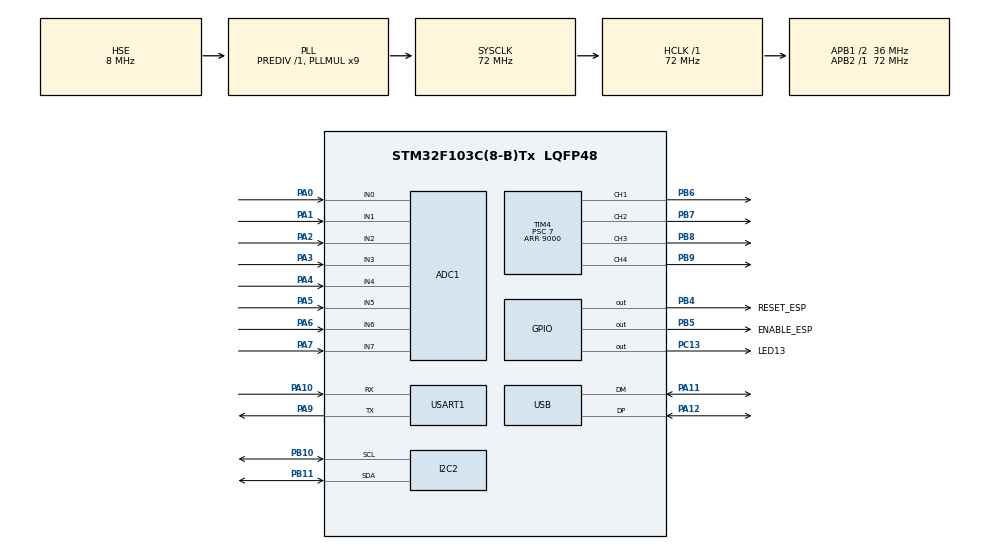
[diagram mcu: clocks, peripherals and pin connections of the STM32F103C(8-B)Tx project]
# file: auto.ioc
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ADC1.Channel-10\#ChannelRegularConversion=ADC_CHANNEL_0
ADC1.Channel-11\#ChannelRegularConversion=ADC_CHANNEL_1
ADC1.Channel-12\#ChannelRegularConversion=ADC_CHANNEL_2
ADC1.Channel-13\#ChannelRegularConversion=ADC_CHANNEL_3
ADC1.Channel-14\#ChannelRegularConversion=ADC_CHANNEL_4
ADC1.Channel-15\#ChannelRegularConversion=ADC_CHANNEL_5
ADC1.Channel-16\#ChannelRegularConversion=ADC_CHANNEL_6
ADC1.Channel-17\#ChannelRegularConversion=ADC_CHANNEL_7
ADC1.NbrOfConversion=8
ADC1.NbrOfConversionFlag=1
ADC1.Rank-10\#ChannelRegularConversion=1
ADC1.Rank-11\#ChannelRegularConversion=2
ADC1.Rank-12\#ChannelRegularConversion=3
ADC1.Rank-13\#ChannelRegularConversion=4
ADC1.Rank-14\#ChannelRegularConversion=5
ADC1.Rank-15\#ChannelRegularConversion=6
ADC1.Rank-16\#ChannelRegularConversion=7
ADC1.Rank-17\#ChannelRegularConversion=8
ADC1.SamplingTime-10\#ChannelRegularConversion=ADC_SAMPLETIME_13CYCLES_5
ADC1.SamplingTime-11\#ChannelRegularConversion=ADC_SAMPLETIME_13CYCLES_5
ADC1.SamplingTime-12\#ChannelRegularConversion=ADC_SAMPLETIME_13CYCLES_5
ADC1.SamplingTime-13\#ChannelRegularConversion=ADC_SAMPLETIME_13CYCLES_5
ADC1.SamplingTime-14\#ChannelRegularConversion=ADC_SAMPLETIME_13CYCLES_5
ADC1.SamplingTime-15\#ChannelRegularConversion=ADC_SAMPLETIME_13CYCLES_5
ADC1.SamplingTime-16\#ChannelRegularConversion=ADC_SAMPLETIME_13CYCLES_5
ADC1.SamplingTime-17\#ChannelRegularConversion=ADC_SAMPLETIME_13CYCLES_5
ADC1.master=1
Dma.ADC1.0.Direction=DMA_PERIPH_TO_MEMORY
Dma.ADC1.0.Instance=DMA1_Channel1
Dma.ADC1.0.MemDataAlignment=DMA_MDATAALIGN_HALFWORD
Dma.ADC1.0.MemInc=DMA_MINC_ENABLE
Dma.ADC1.0.Mode=DMA_NORMAL
Dma.ADC1.0.PeriphDataAlignment=DMA_PDATAALIGN_HALFWORD
Dma.ADC1.0.PeriphInc=DMA_PINC_DISABLE
Dma.ADC1.0.Priority=DMA_PRIORITY_LOW
Dma.Request0=ADC1
Mcu.Family=STM32F1
Mcu.Name=STM32F103C(8-B)Tx
Mcu.Package=LQFP48
NVIC.DMA1_Channel1_IRQn=true\:0\:0\:false\:false\:true\:false\:true
NVIC.PriorityGroup=NVIC_PRIORITYGROUP_4
NVIC.TIM3_IRQn=true\:0\:0\:false\:false\:true\:true\:true
NVIC.TIM4_IRQn=true\:0\:0\:false\:false\:true\:true\:true
NVIC.USART1_IRQn=true\:0\:0\:false\:false\:true\:true\:true
NVIC.USB_LP_CAN1_RX0_IRQn=true\:0\:0\:false\:false\:true\:false\:true
PA0-WKUP.Signal=ADCx_IN0
PA1.Signal=ADCx_IN1
PA10.Mode=Asynchronous
PA10.Signal=USART1_RX
PA11.Mode=Device
PA11.Signal=USB_DM
PA12.Mode=Device
PA12.Signal=USB_DP
PA13.Mode=Serial_Wire
PA13.Signal=SYS_JTMS-SWDIO
PA14.Mode=Serial_Wire
PA14.Signal=SYS_JTCK-SWCLK
PA2.Signal=ADCx_IN2
PA3.Signal=ADCx_IN3
PA4.Signal=ADCx_IN4
PA5.Signal=ADCx_IN5
PA6.Signal=ADCx_IN6
PA7.Signal=ADCx_IN7
PA9.Mode=Asynchronous
PA9.Signal=USART1_TX
PB10.Mode=I2C
PB10.Signal=I2C2_SCL
PB11.Mode=I2C
PB11.Signal=I2C2_SDA
PB4.GPIO_Label=RESET_ESP
PB4.Signal=GPIO_Output
PB5.GPIO_Label=ENABLE_ESP
PB5.Signal=GPIO_Output
PB6.Signal=S_TIM4_CH1
PB7.Signal=S_TIM4_CH2
PB8.Signal=S_TIM4_CH3
PB9.Signal=S_TIM4_CH4
PC13-TAMPER-RTC.GPIO_Label=LED13
PC13-TAMPER-RTC.Signal=GPIO_Output
PD0-OSC_IN.Mode=HSE-External-Oscillator
PD0-OSC_IN.Signal=RCC_OSC_IN
PD1-OSC_OUT.Mode=HSE-External-Oscillator
PD1-OSC_OUT.Signal=RCC_OSC_OUT
ProjectManager.HeapSize=0x200
ProjectManager.StackSize=0x400
ProjectManager.TargetToolchain=STM32CubeIDE
RCC.ADCPresc=RCC_ADCPCLK2_DIV6
RCC.AHBFreq_Value=72000000
RCC.APB1CLKDivider=RCC_HCLK_DIV2
RCC.APB1Freq_Value=36000000
RCC.APB1TimFreq_Value=72000000
RCC.APB2Freq_Value=72000000
RCC.APB2TimFreq_Value=72000000
RCC.HCLKFreq_Value=72000000
RCC.PLLMUL=RCC_PLL_MUL9
RCC.SYSCLKFreq_VALUE=72000000
RCC.SYSCLKSource=RCC_SYSCLKSOURCE_PLLCLK
RCC.USBFreq_Value=48000000
RCC.USBPrescaler=RCC_USBCLKSOURCE_PLL_DIV1_5
SH.ADCx_IN0.0=ADC2_IN0
SH.ADCx_IN0.1=ADC1_IN0,IN0
SH.ADCx_IN1.0=ADC2_IN1
SH.ADCx_IN1.1=ADC1_IN1,IN1
SH.ADCx_IN2.0=ADC2_IN2
SH.ADCx_IN2.1=ADC1_IN2,IN2
SH.ADCx_IN3.0=ADC2_IN3
SH.ADCx_IN3.1=ADC1_IN3,IN3
SH.ADCx_IN4.0=ADC2_IN4
SH.ADCx_IN4.1=ADC1_IN4,IN4
SH.ADCx_IN5.0=ADC2_IN5
SH.ADCx_IN5.1=ADC1_IN5,IN5
SH.ADCx_IN6.0=ADC2_IN6
SH.ADCx_IN6.1=ADC1_IN6,IN6
SH.ADCx_IN7.0=ADC2_IN7
SH.ADCx_IN7.1=ADC1_IN7,IN7
SH.S_TIM4_CH1.0=TIM4_CH1,PWM Generation1 CH1
SH.S_TIM4_CH2.0=TIM4_CH2,PWM Generation2 CH2
SH.S_TIM4_CH3.0=TIM4_CH3,PWM Generation3 CH3
SH.S_TIM4_CH4.0=TIM4_CH4,PWM Generation4 CH4
TIM3.Period=18000
TIM3.Prescaler=7
TIM4.Channel-PWM\ Generation1\ CH1=TIM_CHANNEL_1
TIM4.Channel-PWM\ Generation2\ CH2=TIM_CHANNEL_2
TIM4.Channel-PWM\ Generation3\ CH3=TIM_CHANNEL_3
TIM4.Channel-PWM\ Generation4\ CH4=TIM_CHANNEL_4
TIM4.Period=9000
TIM4.Prescaler=7
USART1.VirtualMode=VM_ASYNC
USB_DEVICE.APP_RX_DATA_SIZE=512
USB_DEVICE.APP_TX_DATA_SIZE=512
USB_DEVICE.CLASS_NAME_FS=CDC
USB_DEVICE.VirtualMode=Cdc
USB_DEVICE.VirtualModeFS=Cdc_FS
VP_TIM3_VS_ClockSourceINT.Mode=Internal
VP_TIM4_VS_ClockSourceINT.Mode=Internal
VP_USB_DEVICE_VS_USB_DEVICE_CDC_FS.Mode=CDC_FS
board=custom

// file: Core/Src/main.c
/* USER CODE BEGIN Header */
/**
  ******************************************************************************
  * @file           : main.c
  * @brief          : Main program body
  ******************************************************************************
  * @attention
  *
  * <h2><center>&copy; Copyright (c) 2021 STMicroelectronics.
  * All rights reserved.</center></h2>
  *
  * This software component is licensed by ST under BSD 3-Clause license,
  * the "License"; You may not use this file except in compliance with the
  * License. You may obtain a copy of the License at:
  *                        opensource.org/licenses/BSD-3-Clause
  *
  ******************************************************************************
  */
/* USER CODE END Header */
#include "main.h"
#include "usb_device.h"

/* USER CODE BEGIN Includes */

#include "utils.h"
#include "usbd_cdc_if.h"
#include "string.h"
#include "math.h"

/* USER CODE END Includes */

/* USER CODE BEGIN PD */

/************************* Valores MAX-MIN de motores *****************************/
#define PWMAMAX			6500
#define PWMAMIN			3000

//#define PWMBMAX			4800
#define PWMBMIN			6200
/**********************************************************************************/

/************************* Longitud de respuestas ESP *****************************/
//#define LONG_CWJAP_	35 //MICRO
//#define LONG_ANS_CWJAP_ 87 //MICRO
#define LONG_CWJAP_	45 //CASA
#define LONG_ANS_CIPSTART 59 //CASA
#define LONG_ANS_CWJAP_ 97 //CASA
//#define LONG_CWJAP_	47 //FACU
//#define LONG_ANS_CWJAP_ 93 //FACU
//#define LONG_ANS_CIPSTART 62 //FACU
/**********************************************************************************/

/************************************ Bits ****************************************/
#define espConnected 			flag1.bit.b0
#define PCConnected				flag1.bit.b1
#define SendAlive				flag1.bit.b2
#define DecodeHeaderESP			flag1.bit.b3
#define RespMotor				flag1.bit.b4
#define ESPReadyToRecyb			flag1.bit.b5
#define DecodeIPD				flag1.bit.b6
#define ECOCIPSEND0xF0			flag1.bit.b7

#define ResetESP				flag2.bit.b0
#define SentDataESP				flag2.bit.b1
#define SendADC					flag2.bit.b2
#define Start					flag2.bit.b3

/**********************************************************************************/
/* USER CODE END PD */

ADC_HandleTypeDef hadc1;
DMA_HandleTypeDef hdma_adc1;

I2C_HandleTypeDef hi2c2;

TIM_HandleTypeDef htim3;
TIM_HandleTypeDef htim4;

UART_HandleTypeDef huart1;

/* USER CODE BEGIN PV */

/******************************** Comandos AT ***********************************/
const char AT[]="AT\r\n";
//const char CWJAP_[]="AT+CWJAP=\"MICROS\",\"micros1234567\"\r\n";
const char CWJAP_[]="AT+CWJAP=\"InternetPlus_861f50\",\"wlan79e0af\"\r\n";//45
//const char CWJAP_[]="AT+CWJAP=\"FCAL\",\"fcalconcordia.06-2019\"\r\n";
const char CIFSR[] = "AT+CIFSR\r\n";
const char CIPMUX[] = "AT+CIPMUX=0\r\n";
const char CIPSTART[]="AT+CIPSTART=\"UDP\",\"192.168.1.6\",30011,3011\r\n";//44
//const char CIPSTART[]="AT+CIPSTART=\"UDP\",\"172.23.247.155\",30011,3011\r\n";//47
const char CIPSEND[] = "AT+CIPSEND=";
const char CIPCLOSE[] = "AT+CIPCLOSE\r\n";
const char CWQAP[] = "AT+CWQAP\r\n";
const char CWMODE[] = "AT+CWMODE=3\r\n";
/********************************************************************************/

/*************************** Respuestas comandos AT *****************************/
const char ANS_CWMODE[] = "AT+CWMODE=3\r\n\r\nOK\r\n"; //19
const char ANS_CWQAP[] = "AT+CWQAP\r\n\r\nOK\r\n"; //16
//const char ANS_CWJAP_[]="AT+CWJAP=\"MICROS\",\"micros1234567\"\r\nWIFI CONNECTED\r\nWIFI GOT IP\r\n\r\nOK\r\n";//70
//Longitud de ANS_CWJAP_[] = 68+LongSSID+Contra//
const char ANS_CWJAP_[]="AT+CWJAP=\"InternetPlus_861f50\",\"wlan79e0af\"\r\nWIFI DISCONNECT\r\nWIFI CONNECTED\r\nWIFI GOT IP\r\n\r\nOK\r\n";//97
//const char ANS_CWJAP_[]="AT+CWJAP=\"FCAL\",\"fcalconcordia.06-2019\"\r\nWIFI DISCONNECT\r\nWIFI CONNECTED\r\nWIFI GOT IP\r\n\r\nOK\r\n";//93
const char ANS_CIPMUX[] = "AT+CIPMUX=0\r\n\r\nOK\r\n"; //19
//const char ANS_CIFSR[] = "AT+CIFSR\r\n";
//const char ANS_CIFSR_STAIP[] = "+CIFSR:STAIP,\"";
//const char ANS_CIPSTART[]="AT+CIPSTART=\"UDP\",\"172.23.247.155\",30011,3011\r\nCONNECT\r\n\r\nOK\r\n";//62
const char ANS_CIPSTART[]="AT+CIPSTART=\"UDP\",\"192.168.1.6\",30011,3011\r\nCONNECT\r\n\r\nOK\r\n";//59
const char ANS_AT[] = "AT\r\n\r\nOK\r\n";
//const char AUTOMATIC_WIFI_CONNECTED[] = {"rIFI CONNECTED\r\nWIFI GOT IP\r\n"};
const char WIFI_DISCONNECT[] = "WIFI DISCONNECT\r\n";
//const char CIFSR_STAIP[] = "+CIFSR:STAIP,\"";
//const char OK[]="\r\nOK\r\n";
//const char CIPSEND1[]={"AT+CIPSEND="};
//const char CIPSEND2[]={"\r\n\r\nOK\r\n>"};
//const char CIPSEND3[]={"\r\nRecv "};
//const char CIPSEND4[]={" bytes\r\n\r\nSEND OK\r\n"};
const char IPD[]={"\r\n+IPD,"};
const char Error[] = "\r\nERROR\r\n";
/*********************************************************************************/

/********************* Cálculo error algoritmo cuadratico ************************/
const int COORD_SENSORES[]={-45,-35,-25,-15,-5,5,15,25,35,45};
static uint8_t FirtScan;
uint16_t bufADC[32][8];
volatile uint8_t iAdc;
uint8_t posMINCenter, posMINDerecha, posMINIzquierda;
int16_t sensorValue,x2_x1,x2_x3,x2_x1cuad,x2_x3cuad;
int32_t fx2_fx3,fx2_fx1,denominador;
//int32_t error;
/*********************************************************************************/
/************************************* PID y PWM***************************************/
int16_t IntegralMA, DerivativoMA, ProporcionalMB, IntegralMB, DerivativoMB, lastError;//, M1Power, M2Power;
uint8_t KpMA, KiMA, KdMA, KpMB, KiMB, KdMB;
//volatile uint8_t TimeOutPID;
//uint16_t PWMA, PWMB;
/*********************************************************************************/

/***************************** Contadores timmer *********************************/
volatile uint16_t DecodeTimeOut, On5ms, On100ms, On200ms, On3000ms, On500ms, Count100ms, Countms, Count5ms, Count500ms;
/*********************************************************************************/

/********************** Comunicación - Buffer e indices  *************************/
volatile _Rx RXUSB, RXUSART1;
_Tx TXUSB, TXUSART1;
uint8_t rxUSBBuff[256], rxUSART1Buff[256] = {};
uint8_t txUSBBuff[256], txUSART1Buff[256];
uint8_t DecodeCIPSEND, IndiceIPD, IndiceDisconnect, IndiceError;
uint8_t Estado, Indice, Data;
/*********************************************************************************/
_work w, M1Power, M2Power, error, PWMA, PWMB, PWM_A, PWM_B, PWMBaseA, PWMBaseB, ProporcionalMA;//, Kp, Ki, Kd;

volatile _sFlag flag1, flag2;

/* USER CODE END PV */

void SystemClock_Config(void);
static void MX_GPIO_Init(void);
static void MX_TIM4_Init(void);
static void MX_I2C2_Init(void);
static void MX_USART1_UART_Init(void);
static void MX_DMA_Init(void);
static void MX_ADC1_Init(void);
static void MX_TIM3_Init(void);
/* USER CODE BEGIN PFP */

/**********************************************************************************/
/*************************** Prototipos de Funciones ******************************/
/**********************************************************************************/

/*
 * Captura datos entrantes por USB
 * Incrementa indice de buffer de recepción
 *
 */
void MyCallBackOnUSBData(uint8_t *buf, uint32_t len);
/*
 * Decodifica protocolo de comunicacion
 * Calcula checksum
 * Detecta si hay comando
 *
 */
void DecodeHeader(_Rx *RX);
/*
 * Decodifica comando
 * Envida datos segun comando
 *
 */
void DecodeCmd(_Rx *RX, _Tx *TX);
/*
 * Carga buffer Tx en el buffer de USB o USART
 *
 */
void PutBuffOnTx(_Tx *TX, uint8_t *buf, uint8_t length);
/*
 * Carga byte Tx en el buffer de USB o USART
 *
 */
void PutByteOnTx(_Tx *TX, uint8_t value);
/*
 * Carga de protocolo en la cabecera en buffer de USB o ESP
 *
 */
void PutHeaderOnTx(_Tx *TX, uint8_t cmd, uint8_t CantDatos);
/*
 * Carga de checksum en buffer de USB o ESP
 *
 */
void PutcksOnTx(_Tx *TX);
/*
 * Carga de string en buffer de USB o ESP
 *
 */
void PutStrOnTx(_Tx *TX, const char *str);
/*
 * Captura de byte de buffer Rx de USB o ESP
 *
 */
uint8_t GetByteFromRx(_Rx *RX, int8_t pre, int8_t pos);
/*
 * Inicializacion de ESP8266
 * Se cargan comandos AT en el buffer Tx de ESP8266
 *
 */
void InitEsp(_Rx *RXUSART1);
/*
 * Decodifica comandos de ESP8266
 *
 */
void DecodeESP(_Rx *RXUSART1);

/*
 * Calculo de error cuadratico
 *
 */
void ErrorCuadratico();
/*
 * Cálculo de PID
 * Control de velocidad de motores
 *
 */
void PID();

void ConnectPC();

void SendUDPData();

void ADC();

void Reset();

void PutCIPSENDOnTx(const char * CantDatos);
/**********************************************************************************/
/**********************************************************************************/
/**********************************************************************************/

/* USER CODE END PFP */

/* USER CODE BEGIN 0 */

/**********************************************************************************/
/********************************** Funciones *************************************/
/**********************************************************************************/

void PID(){
//	uint16_t Valor;
//	uint8_t i;
//
//	for( i=0; i<8; i++){
//		Valor += bufADC[iAdc][i];
//	}
//
//	if(Valor < 1000){
//		Valor = 0;
//		__HAL_TIM_SET_COMPARE(&htim4,TIM_CHANNEL_1,0);
//		__HAL_TIM_SET_COMPARE(&htim4,TIM_CHANNEL_2,0);
//		__HAL_TIM_SET_COMPARE(&htim4,TIM_CHANNEL_3,0);
//		__HAL_TIM_SET_COMPARE(&htim4,TIM_CHANNEL_4,0);
//		return;
//	}

/**************************** Cálculo de variables PID ****************************/
	ProporcionalMA.i16[0] = KpMA*error.i16[0];
	ProporcionalMB = KpMB*error.i16[0];
//	Integral += 2*error.i16; //Integral += Ki*error;
	DerivativoMA = KdMA*(error.i16[0]-lastError)*100; //Kd*(error-lastError)
	DerivativoMB = KdMB*(error.i16[0]-lastError)*100;

	PWM_A.i16[0]= ProporcionalMA.i16[0] + IntegralMA + DerivativoMA;
	PWM_B.i16[0]= ProporcionalMB + IntegralMB + DerivativoMB;

	PWMA.i16[0] = PWMBaseA.i16[0] + PWM_A.i16[0];
	PWMB.i16[0] = PWMBaseB.i16[0] - PWM_B.i16[0];
/**********************************************************************************/

/************************ Seteo de variables fuera de rango ************************/
	if(PWMA.i16[0] > PWMAMAX)
		PWMA.i16[0] = PWMAMAX;

//	if(PWMB.i16[0] > PWMBMAX+1000)
//		PWMB.i16[0] = PWMBMAX+1000;

	if(PWMA.i16[0] < 0)
		PWMA.i16[0] = 0;

	if(PWMB.i16[0] < 0)
		PWMB.i16[0] = 0;
/***********************************************************************************/

/*************************** Actuacion de motores con PID **************************/
	__HAL_TIM_SET_COMPARE(&htim4,TIM_CHANNEL_1,PWMA.i16[0]);
	__HAL_TIM_SET_COMPARE(&htim4,TIM_CHANNEL_2,0);
	__HAL_TIM_SET_COMPARE(&htim4,TIM_CHANNEL_3,PWMB.i16[0]);
	__HAL_TIM_SET_COMPARE(&htim4,TIM_CHANNEL_4,0);
/***********************************************************************************/

	lastError=error.i16[0];
}

void ErrorCuadratico(){
/******************************* Variables locales *********************************/
	uint16_t aux[10];

	sensorValue = bufADC[iAdc][0];

	posMINCenter=0;
/***********************************************************************************/

/*************************** Encuentro la menor lectura ****************************/
	for(uint8_t c=0; c<8; c++){
		if(sensorValue < bufADC[iAdc][c]){
			sensorValue = bufADC[iAdc][c];
			posMINCenter = c;
		}
		aux[c+1]=bufADC[iAdc][c];
	}

	posMINCenter+=1;
	aux[0]=aux[2];
	aux[9]=aux[7];
/***********************************************************************************/

/***************** Calculo de error segun peso asignado a sensores *****************/
	posMINDerecha=posMINCenter+1;
	posMINIzquierda=posMINCenter-1;
	fx2_fx3=aux[posMINCenter]-aux[posMINDerecha];
	fx2_fx1=aux[posMINCenter]-aux[posMINIzquierda];
	x2_x1=COORD_SENSORES[posMINCenter]-COORD_SENSORES[posMINIzquierda];
	x2_x1cuad=(x2_x1*x2_x1);
	x2_x3=COORD_SENSORES[posMINCenter]-COORD_SENSORES[posMINDerecha];
	x2_x3cuad=(x2_x3*x2_x3);
	denominador=-(2*(x2_x1*fx2_fx3-x2_x3*fx2_fx1));
	if(denominador!= 0){
		error.i16[0]=(int16_t)COORD_SENSORES[posMINCenter]-( x2_x1cuad*fx2_fx3 - x2_x3cuad*fx2_fx1 ) / denominador;
	}
/***********************************************************************************/
}

void Reset(){
	espConnected = 0;
	ESPReadyToRecyb = 1;
	ResetESP = 1;
	HAL_UART_AbortReceive_IT(&huart1);
	HAL_GPIO_WritePin(GPIOB, RESET_ESP_Pin, GPIO_PIN_RESET);//Reset ESP8266
	DecodeTimeOut = 20;
}

void InitEsp(_Rx *RXUSART1){
	switch(Estado){
		case 0:
			PutStrOnTx((_Tx *)&TXUSART1,AT); //Envio comando AT para ver si responde el ESP
			PutStrOnTx((_Tx *)&TXUSB,AT);    // Depuracion por USB
		break;

		case 1:
			PutStrOnTx((_Tx *)&TXUSART1,CWMODE); //Envio comando CWMODE
			PutStrOnTx((_Tx *)&TXUSB,CWMODE);    // Depuracion por USB

		break;

		case 2:
			PutStrOnTx((_Tx *)&TXUSART1,CWJAP_); //Envio comando CWJAP con los datos de la red
			PutStrOnTx((_Tx *)&TXUSB,CWJAP_);    // Depuracion por USB

		break;

		case 3:
			PutStrOnTx((_Tx *)&TXUSART1,CIPMUX);
			PutStrOnTx((_Tx *)&TXUSB,CIPMUX);    // Depuracion por USB

		break;

		case 4:
			PutStrOnTx((_Tx *)&TXUSART1,CIPSTART);
			PutStrOnTx((_Tx *)&TXUSB,CIPSTART);    // Depuracion por USB

		break;
	}
	DecodeTimeOut = 4;
	ESPReadyToRecyb = 1;
}

void HAL_TIM_PeriodElapsedCallback(TIM_HandleTypeDef *htim){
/***************** Contadores para control del flujo de tiempo ********************/
/*
 * Instancia cada 1ms
 *
 */
	if(htim->Instance == TIM4){
		Count100ms--;
		Countms--;
		Count5ms--;
		if(!Count100ms){
			Count100ms = 100;
			On100ms = 1;
		}

		if(RXUSB.header) {
			RXUSB.timeout--;
			if(!RXUSB.timeout)
				RXUSB.header = 0;
		}
	}
/**********************************************************************************/

/************************* Incio lectura analogica por DMA *************************/
/*
 * Instancia cada 500us
 *
 */
	if(htim->Instance == TIM3){
		HAL_ADC_Start_DMA(&hadc1, (uint32_t *) &bufADC[iAdc], 8);
	}
/***********************************************************************************/

}

void DecodeESP(_Rx *RXUSART1){

	if((espConnected) && (!DecodeHeaderESP)){
		//Decodifica \r\n+IPD,
		if((RXUSART1->Buff[RXUSART1->ir] == IPD[IndiceIPD]) && (IndiceIPD < 7)){
			IndiceIPD++;
			if(IndiceIPD == 7){
				DecodeIPD = 1;
				IndiceIPD = 0;
			}
		}
		else{
			if((IndiceIPD > 0) && (!DecodeIPD)){
				IndiceIPD = 0;
//				RXUSART1->ir = RXUSART1->iw;
				return;
			}
		}

		if(DecodeIPD){
			if(RXUSART1->Buff[RXUSART1->ir]==':'){
				DecodeHeaderESP = 1;
				DecodeIPD = 0;
				return;
			}
		}

		//Decodifica WIFI DISCONNECT\r\n
		if(RXUSART1->Buff[RXUSART1->ir] == WIFI_DISCONNECT[IndiceDisconnect]){
			IndiceDisconnect++;
			if(IndiceDisconnect == 17){
				IndiceDisconnect=0;
				Reset();
			}
		}
		else{
			if(IndiceDisconnect > 0){
				IndiceDisconnect = 0;
			}
		}

		//Decodifica ERROR
		if(RXUSART1->Buff[RXUSART1->ir] == Error[IndiceError]){
			IndiceError++;
			if(IndiceError == 9){
				IndiceError=0;
				Reset();
			}
		}
		else{
			if(IndiceError > 0){
				IndiceError = 0;
			}
		}

		RXUSART1->ir++;
	}

	//Decodifica inicializacion de ESP8266
	if((!espConnected) && (!DecodeTimeOut)){
		switch(Estado){
			case 0:
				if(RXUSART1->Buff[RXUSART1->ir]==ANS_AT[Indice]){
					Indice ++;
					RXUSART1->ir++;
					if(Indice == 10){
						Indice = 0;
						Estado = 1;
						ESPReadyToRecyb = 0;
					}
				}
				else{
					RXUSART1->ir = RXUSART1->iw;
					Indice = 0;
					ESPReadyToRecyb = 0;
				}
			break;

			case 1:
				if(RXUSART1->Buff[RXUSART1->ir]==ANS_CWMODE[Indice]){
					Indice++;
					RXUSART1->ir++;
					if(Indice==19){
						Indice=0;
						Estado = 2;
						ESPReadyToRecyb = 0;
					}
				}
				else{
					if(Indice>0){
						RXUSART1->ir = RXUSART1->iw;
						Indice=0;
					}
					Estado = 0;
				}
			break;

			case 2:
				if(RXUSART1->Buff[RXUSART1->ir]==ANS_CWJAP_[Indice]){
					Indice++;
					RXUSART1->ir++;
					if(Indice==LONG_ANS_CWJAP_){
						Indice = 0;
						Estado = 3;
						ESPReadyToRecyb = 0;
					}
				}
				else{
					if(Indice>0){
						RXUSART1->ir = RXUSART1->iw;
						Indice=0;
					}
					Estado = 0;
				}
			break;

			case 3:
					if(RXUSART1->Buff[RXUSART1->ir]==ANS_CIPMUX[Indice]){
						Indice++;
						RXUSART1->ir++;
						if(Indice == 19){
							Indice = 0;
							Estado = 4;
							ESPReadyToRecyb = 0;
						}
					}
					else{
						if(Indice>0){
							RXUSART1->ir = RXUSART1->iw;
							Indice = 0;
						}
						Estado = 0;
						ESPReadyToRecyb = 0;
					}
			break;

			case 4:
					if(RXUSART1->Buff[RXUSART1->ir]==ANS_CIPSTART[Indice]){
						Indice++;
						RXUSART1->ir++;
						if(Indice == LONG_ANS_CIPSTART ){
							Indice = 0;
							espConnected = 1;
							Estado = 0;
							Countms = 70;
						}
					}
					else{
						if(Indice>0){
							RXUSART1->ir = RXUSART1->iw;
							Indice = 0;
							espConnected = 1;
							Countms = 70;
							Estado = 0;
						}
						Estado = 0;
					}
			break;
		}
	}
}

void HAL_UART_RxCpltCallback(UART_HandleTypeDef *huart)
{
	if(huart->Instance==USART1){
//		TXUSB.Buff[TXUSB.iw++] = rxUSART1Buff[RXUSART1.iw];
		RXUSART1.iw++;
		HAL_UART_Receive_IT(&huart1, &rxUSART1Buff[RXUSART1.iw], 1);
	}
}

void HAL_ADC_ConvCpltCallback(ADC_HandleTypeDef* hadc){

	// Incrento indice del buffer
	iAdc++;
	if(iAdc == 32){
		iAdc = 0;
	}
//	ADC();
}
void ADC(){
	volatile uint8_t c;

/***********************************************************************************/
/********************* Media movil de las 3 primeras lecturas **********************/
	if(FirtScan){
		switch(iAdc){
			case 1:
				for(c=0;c<8;c++){
					bufADC[1][c]=(uint16_t)((bufADC[0][c]+bufADC[1][c]) / 2 );
				}
			break;

			case 2:
				for(c=0;c<8;c++){
					bufADC[2][c]=(uint16_t)((bufADC[0][c]+bufADC[1][c]+bufADC[2][c]) / 3);
				}
			break;

			case 3:
				for(c=0;c<8;c++){
					bufADC[3][c]=(uint16_t)((bufADC[0][c]+bufADC[1][c]+bufADC[2][c]+bufADC[3][c]) / 4);
				}
				FirtScan = 0;
			break;
		}
	}

/***********************************************************************************/
/********************* Media movil de las siguientes lecturas **********************/
	else{
		switch(iAdc){
			// Cruce por 0 y 1 donde se toman dos valores anteriores para hacer la media
			case 0:
				for(c = 0; c<8; c++){
					bufADC[0][c]=(uint16_t)(( bufADC[0][c]+bufADC[31][c]+bufADC[30][c]+bufADC[29][c]) / 4) ;
				}
			break;

			case 1:
				for(c = 0; c<8; c++){
					bufADC[1][c]=(uint16_t)((bufADC[0][c]+bufADC[1][c]+bufADC[31][c]+bufADC[30][c]) / 4);
				}
			break;

			case 2:
				for(c = 0; c<8; c++){
					bufADC[2][c]=(uint16_t)((bufADC[2][c]+bufADC[1][c]+bufADC[0][c]+bufADC[31][c]) / 4);
				}
			break;

			default:
				// Cálculo comprendido entre bufADC[2] y bufADC[31]
				for(c = 0; c<8; c++){
					bufADC[iAdc][c] = (uint16_t)((bufADC[iAdc-3][c] + bufADC[iAdc-2][c] + bufADC[iAdc-1][c] + bufADC[iAdc][c])/4);
				}
			break;
		}
	}
/***********************************************************************************/
}
void MyCallBackOnUSBData(uint8_t *buf, uint32_t len){
	for(uint32_t i=0; i<len; i++){
		rxUSBBuff[RXUSB.iw++] = buf[i];
	}
}

void DecodeHeader(_Rx *RX)
{
    uint8_t i;
    i = RX->iw;

    while(RX->ir != i) {
        switch(RX->header) {
            case 0:
                if(RX->Buff[RX->ir] == 'U') {
                    RX->header = 1;
                    RX->timeout = 5;
                }
                break;
            case 1:
                if(RX->Buff[RX->ir] == 'N') {
                    RX->header = 2;
                } else {
                    RX->header = 0;
                    RX->ir --;
                }
                break;
            case 2:
                if(RX->Buff[RX->ir] == 'E') {
                    RX->header = 3;
                } else {
                    RX->header = 0;
                    RX->ir --;
                }
                break;
            case 3:
                if(RX->Buff[RX->ir] == 'R') {
                    RX->header = 4;
                } else {
                    RX->header = 0 ;
                    RX->ir --;
                }
                break;
            case 4:
                RX->nbytes = RX->Buff[RX->ir];
                RX->header = 5;
                break;
            case 5:
                if(RX->Buff[RX->ir] == ':') {
                    RX->header = 6;
                    RX->iData = RX->ir + 1;
                    RX->iData &= RX->maskSize;
                    RX->cks = 'U' ^ 'N' ^ 'E' ^ 'R' ^ ':' ^ RX->nbytes;

                } else {
                    RX->header = 0 ;
                    RX->ir --;
                }
                break;
            case 6:
                RX->nbytes--;
                if(RX->nbytes > 0) {
                    RX->cks ^= RX->Buff[RX->ir];
                } else {
                    RX->header = 0 ;
                    if(RX->cks == RX->Buff[RX->ir]) {
                        RX->ISCMD = 1;
                        DecodeHeaderESP = 0;
                    }
                }
                break;

            default:
                RX->header = 0;
                DecodeHeaderESP = 0;
                break;
        }
        RX->ir &= RX->maskSize;
        RX->ir ++;
        RX->ir &= RX->maskSize;    // Enmascaro el indice de lectura - Cuando llega a 255 se pone en 0
    }
}

void DecodeCmd(_Rx *RX, _Tx *TX){
    RX->ISCMD = 0;

    switch(RX->Buff[RX->iData]){

    	case 0xA7:
		    PCConnected = 1;
			Data = 0;
    	break;

    	case 0xA6:
			PCConnected = 0;
			Data = 0;
			Start = 0;
		break;

    	/*
         * Comando para enviar alive
         */
        case 0xF0:                                                              //Alive
			if(!espConnected){
	        	PutHeaderOnTx((_Tx *)&TXUSB, 0xF0, 2);
	            PutByteOnTx((_Tx *)&TXUSB, 0x0D);
	            PutcksOnTx((_Tx *)&TXUSB);
			}
		break;
		/*
		 * Comando para enviar valor de sensores
		 */
        case 0xA0:
        	if(!espConnected){
        		PutHeaderOnTx((_Tx *)&TXUSB, 0xA0, 17);
        		PutBuffOnTx((_Tx *)&TXUSB, (uint8_t *)bufADC, 16);
				PutcksOnTx((_Tx *)&TXUSB);
        	}
        break;
        /*
		 * Comando para recibir valor de constantes
		 */
        case 0xE0:
        	KpMA =  GetByteFromRx((_Rx *)&RXUSART1, 1, 0);
        	KdMA =  GetByteFromRx((_Rx *)&RXUSART1, 1, 0);

        	KpMB =  GetByteFromRx((_Rx *)&RXUSART1, 1, 0);
			KdMB =  GetByteFromRx((_Rx *)&RXUSART1, 1, 0);
        break;
        /*
		 * Comando para recibir valor base o minimo de PWM
		 */
        case 0xA1:

        	PWMBaseA.i8[0] = GetByteFromRx((_Rx *)&RXUSART1, 1, 0);
        	PWMBaseA.i8[1] = GetByteFromRx((_Rx *)&RXUSART1, 1, 0);

        	PWMBaseB.i8[0] = GetByteFromRx((_Rx *)&RXUSART1, 1, 0);
        	PWMBaseB.i8[1] = GetByteFromRx((_Rx *)&RXUSART1, 1, 0);

			RespMotor = 1;

        	if(!espConnected){
                PutHeaderOnTx(&TXUSB, 0xA1, 2);
    			PutByteOnTx(&TXUSB, 0x0D);
    			PutcksOnTx(&TXUSB);
            }

        break;

        case 0xA2:
		  __HAL_TIM_SET_COMPARE(&htim4, TIM_CHANNEL_1, 0);
		  __HAL_TIM_SET_COMPARE(&htim4, TIM_CHANNEL_2, 0);
		  __HAL_TIM_SET_COMPARE(&htim4, TIM_CHANNEL_3, 0);
		  __HAL_TIM_SET_COMPARE(&htim4, TIM_CHANNEL_4, 0);
		  Start = 0;
        break;

        case 0xA3:
		  Start = 1;
		break;

        /*
         * Comando para enviar aviso de error
         */
        default:
			if(!espConnected){
	        	PutHeaderOnTx((_Tx *)&TXUSB, 0xFF, 1);
	            PutcksOnTx((_Tx *)&TXUSB);
			}
        break;
    }
}

void PutCIPSENDOnTx(const char * CantDatos){
	PutStrOnTx((_Tx *)&TXUSART1, CIPSEND);
	PutStrOnTx((_Tx *)&TXUSART1, CantDatos);
	TXUSART1.Buff[TXUSART1.iw++] = '\r';
	TXUSART1.iw &= TXUSART1.maskSize;
	TXUSART1.Buff[TXUSART1.iw++] = '\n';
	TXUSART1.iw &= TXUSART1.maskSize;
}

void SendUDPData(){
	switch(Data){
		case 0:
			PutCIPSENDOnTx("42");
			Countms = 20;
			Data++;
		break;

		case 1:
			PutHeaderOnTx((_Tx *)&TXUSART1, 0xA8, 35);

			PutBuffOnTx((_Tx *)&TXUSART1, (uint8_t *)bufADC, 16);

			TXUSART1.Buff[TXUSART1.iw++] = error.i8[0];
			TXUSART1.iw &= TXUSART1.maskSize;
			TXUSART1.Buff[TXUSART1.iw++] = error.i8[1];
			TXUSART1.iw &= TXUSART1.maskSize;

			TXUSART1.Buff[TXUSART1.iw++] = PWMA.i8[0];
			TXUSART1.iw &= TXUSART1.maskSize;
			TXUSART1.Buff[TXUSART1.iw++] = PWMA.i8[1];
			TXUSART1.iw &= TXUSART1.maskSize;

			TXUSART1.Buff[TXUSART1.iw++] = PWMB.i8[0];
			TXUSART1.iw &= TXUSART1.maskSize;
			TXUSART1.Buff[TXUSART1.iw++] = PWMB.i8[1];
			TXUSART1.iw &= TXUSART1.maskSize;

			TXUSART1.Buff[TXUSART1.iw++] = PWM_A.i8[0];
			TXUSART1.iw &= TXUSART1.maskSize;
			TXUSART1.Buff[TXUSART1.iw++] = PWM_A.i8[1];
			TXUSART1.iw &= TXUSART1.maskSize;

			TXUSART1.Buff[TXUSART1.iw++] = PWM_B.i8[0];
			TXUSART1.iw &= TXUSART1.maskSize;
			TXUSART1.Buff[TXUSART1.iw++] = PWM_B.i8[1];
			TXUSART1.iw &= TXUSART1.maskSize;

			TXUSART1.Buff[TXUSART1.iw++] = PWMBaseA.i8[0];
			TXUSART1.iw &= TXUSART1.maskSize;
			TXUSART1.Buff[TXUSART1.iw++] = PWMBaseA.i8[1];
			TXUSART1.iw &= TXUSART1.maskSize;

			TXUSART1.Buff[TXUSART1.iw++] = PWMBaseB.i8[0];
			TXUSART1.iw &= TXUSART1.maskSize;
			TXUSART1.Buff[TXUSART1.iw++] = PWMBaseB.i8[1];
			TXUSART1.iw &= TXUSART1.maskSize;

			TXUSART1.Buff[TXUSART1.iw++] = ProporcionalMA.i8[0];
			TXUSART1.iw &= TXUSART1.maskSize;
			TXUSART1.Buff[TXUSART1.iw++] = ProporcionalMA.i8[1];
			TXUSART1.iw &= TXUSART1.maskSize;

			PutByteOnTx((_Tx *)&TXUSART1, 0xF0);
			PutByteOnTx((_Tx *)&TXUSART1, 0x0D);

			PutcksOnTx((_Tx *)&TXUSART1);

			if(RespMotor){
				Data++;
				Countms = 30;
			}
			else{
				Countms = 180;
				Data=0;
			}
		break;

		case 2:
			PutCIPSENDOnTx("9");
			Countms = 30;
			Data++;
		break;

		case 3:
			PutHeaderOnTx((_Tx *)&TXUSART1, 0xA1, 2);
			PutByteOnTx((_Tx *)&TXUSART1, 0x0D);
			PutcksOnTx((_Tx *)&TXUSART1);
			Countms = 120;
			RespMotor = 0;
			Data = 0;
		break;

	}
}

void ConnectPC(){
	switch(Data){
		case 0:
			PutCIPSENDOnTx("8");
			Countms = 20;
			Data++;
		break;

		case 1:
			PutHeaderOnTx((_Tx *)&TXUSART1, 0xA7, 1);
			PutcksOnTx((_Tx *)&TXUSART1);
			Countms = 780;
			Data = 0;
		break;
	}
}

uint8_t GetByteFromRx(_Rx *RX, int8_t pre, int8_t pos){
    uint8_t aux;

    RX->iData += pre;
    RX->iData &= RX->maskSize;
    aux = RX->Buff[RX->iData];
    RX->iData += pos;
    RX->iData &= RX->maskSize;

    return aux;
}

void PutStrOnTx(_Tx *TX, const char *str)
{
    uint8_t i = 0;

    while(str[i]) {
        TX->Buff[TX->iw++] = str[i++];
        TX->iw &= TX->maskSize;
    }
}

void PutByteOnTx(_Tx *TX, uint8_t value)
{
    TX->Buff[TX->iw++] = value;
    TX->iw &= TX->maskSize;
}

void PutBuffOnTx(_Tx *TX, uint8_t *buf, uint8_t length)
{
    uint8_t i;

    for(i=0; i<length; i++) {

    	TX->Buff[TX->iw++] = buf[i];
    	TX->iw &= TX->maskSize;
    }
}

void PutHeaderOnTx(_Tx *TX, uint8_t cmd, uint8_t CantDatos)
{
    TX->Buff[TX->iw++] = 'U';
    TX->iw &= TX->maskSize;
    TX->Buff[TX->iw++] = 'N';
    TX->iw &= TX->maskSize;
    TX->Buff[TX->iw++] = 'E';
    TX->iw &= TX->maskSize;
    TX->Buff[TX->iw++] = 'R';
    TX->iw &= TX->maskSize;
    //lcmd cantidad de datos: id+payload+cks
    TX->length = CantDatos;
    TX->Buff[TX->iw++] = CantDatos + 1;
    TX->iw &= TX->maskSize;
    TX->Buff[TX->iw++] = ':';
    TX->iw &= TX->maskSize;
    TX->Buff[TX->iw++] = cmd;
    TX->iw &= TX->maskSize;
}

void PutcksOnTx(_Tx *TX)
{
    uint8_t cks, i;

    cks = 0;
    i = TX->length + 6;
    i = TX->iw - i;
    i &= TX->maskSize;
    while(i != TX->iw) {
        cks ^= TX->Buff[i++];
        i &= TX->maskSize;
    }

    TX->Buff[TX->iw++] = cks;
    TX->iw &= TX->maskSize;
}

/* USER CODE END 0 */

int main(void)
{

  /* MCU Configuration--------------------------------------------------------*/

  /* Reset of all peripherals, Initializes the Flash interface and the Systick. */
  HAL_Init();

  /* Configure the system clock */
  SystemClock_Config();

  /* Initialize all configured peripherals */
  MX_GPIO_Init();
  MX_TIM4_Init();
  MX_I2C2_Init();
  MX_USART1_UART_Init();
  MX_DMA_Init();
  MX_ADC1_Init();
  MX_USB_DEVICE_Init();
  MX_TIM3_Init();
  /* USER CODE BEGIN 2 */
  CDC_AttachOnUSBData(MyCallBackOnUSBData);

  HAL_TIM_Base_Start_IT(&htim4);
  HAL_TIM_Base_Start_IT(&htim3);
  //Enable ESP8266
  HAL_GPIO_WritePin(GPIOB, ENABLE_ESP_Pin, GPIO_PIN_SET);	//Enable ESP8266
  HAL_GPIO_WritePin(GPIOB, RESET_ESP_Pin, GPIO_PIN_SET);	//Reset ESP8266
  HAL_TIM_PWM_Start(&htim4, TIM_CHANNEL_1);
  HAL_TIM_PWM_Start(&htim4, TIM_CHANNEL_2);
  HAL_TIM_PWM_Start(&htim4, TIM_CHANNEL_3);
  HAL_TIM_PWM_Start(&htim4, TIM_CHANNEL_4);
  __HAL_TIM_SET_COMPARE(&htim4, TIM_CHANNEL_1, 0);
  __HAL_TIM_SET_COMPARE(&htim4, TIM_CHANNEL_2, 0);
  __HAL_TIM_SET_COMPARE(&htim4, TIM_CHANNEL_3, 0);
  __HAL_TIM_SET_COMPARE(&htim4, TIM_CHANNEL_4, 0);
/***********************************************************************************/
/************************** Inicializacion de contadores ***************************/
/***********************************************************************************/
  Count100ms = 100;
  Countms = 0;
  Count5ms = 0;
  Count500ms = 5;
  DecodeTimeOut = 60;
/***********************************************************************************/
/***********************************************************************************/
/***********************************************************************************/

/***********************************************************************************/
/*************************** Inicializacion de variables USB ***********************/
/***********************************************************************************/
  RXUSB.Buff = (uint8_t *)rxUSBBuff;
  RXUSB.iw = 0;
  RXUSB.ir = 0;
  RXUSB.header = 0;
  RXUSB.maskSize = 255;
  RXUSB.ISCMD = 0;

  TXUSB.Buff = txUSBBuff;
  TXUSB.iw = 0;
  TXUSB.ir = 0;
  TXUSB.maskSize = 255;
  TXUSB.maskBuf = 255;
/***********************************************************************************/
/***********************************************************************************/
/***********************************************************************************/

/***********************************************************************************/
/********************** Inicialización de  ESP8266 ************************/
/***********************************************************************************/
  RXUSART1.Buff = (uint8_t *)rxUSART1Buff;
  RXUSART1.iw = 0;
  RXUSART1.ir = 0;
  RXUSART1.header = 0;
  RXUSART1.maskSize = 255;
  RXUSART1.ISCMD = 0;

  TXUSART1.Buff = txUSART1Buff;
  TXUSART1.iw = 0;
  TXUSART1.ir = 0;
  TXUSART1.maskSize = 255;
  TXUSART1.maskBuf = 255;

  IndiceError = 0;
  IndiceIPD = 0;

  /*Bits de control*/
  DecodeIPD = 0;
  DecodeCIPSEND = 0;
  DecodeHeaderESP = 0;
  ESPReadyToRecyb = 0;
  SendADC = 0;
  ResetESP = 1;
  Estado = 0;
  Indice = 0;
  SentDataESP = 0;
  RespMotor = 0;
  SendAlive = 0;
  PCConnected = 0;
  Start = 0;

/***********************************************************************************/
/***********************************************************************************/
/***********************************************************************************/

/***********************************************************************************/
/************************ Inicializacion de variables ADC **************************/
/***********************************************************************************/
  iAdc = 0;
  FirtScan=1;
/***********************************************************************************/
/***********************************************************************************/
/***********************************************************************************/

/***********************************************************************************/
/***************** Inicializacion de variables error cuadratico ********************/
/***********************************************************************************/
  posMINCenter = 0;
  posMINDerecha = 0;
  posMINIzquierda = 0;
  sensorValue = 0;
  error.i8[0] = 0;
/***********************************************************************************/
/***********************************************************************************/
/***********************************************************************************/

/***********************************************************************************/
/************************* Inicialización de variables PID *************************/
/***********************************************************************************/
  KpMA = KiMA = KdMA = KpMB = KiMB = KdMB = 0;
  IntegralMA = DerivativoMA = ProporcionalMB = IntegralMB = DerivativoMB = 0;
  ProporcionalMA.i16[0] = 0;
  PWMA.i16[0] = 0;
  PWMB.i16[0] = 0;
  PWM_A.i16[0] = 0;
  PWM_B.i16[0] = 0;
  PWMBaseA.i16[0] = 0;
  PWMBaseB.i16[0] = 0;
/***********************************************************************************/
/***********************************************************************************/
/***********************************************************************************/

  /* USER CODE END 2 */

  /* Infinite loop */
  while (1)
  {

    /* USER CODE BEGIN 3 */
	  //LED de estado - Parpadea cada 100ms
	  if(On100ms){
		  On100ms = 0;
		  HAL_GPIO_TogglePin(LED13_GPIO_Port, LED13_Pin);

		  //Utilizado como delay para no capturar basura de la ESP8266 al iniciarla
		  if(DecodeTimeOut > 0){
			  DecodeTimeOut--;
		  }
	  }

	  if((espConnected) && (!DecodeHeaderESP) && (!RXUSART1.ISCMD) && (!Countms)){
		  if(PCConnected)SendUDPData();
		  else ConnectPC();

	  }

	  if((Start) && (!Count5ms)){
		  ErrorCuadratico();
		  PID();
		  Count5ms=10;
	  }

	  //Recepcion por USB - Decodifica header
	  if(RXUSB.iw != RXUSB.ir) {
		  DecodeHeader((_Rx *)&RXUSB);
	  }
	  //Recepcion por USB - Decodifica comando
	  if(RXUSB.ISCMD) {
		  DecodeCmd((_Rx *)&RXUSB, (_Tx *)&TXUSB);
	  }
	  //Transmision por USB
	  if(TXUSB.iw != TXUSB.ir) {
		  if(TXUSB.iw > TXUSB.ir){
			  if(USBD_OK==CDC_Transmit_FS(&TXUSB.Buff[TXUSB.ir], (TXUSB.iw-TXUSB.ir)))
				  TXUSB.ir=TXUSB.iw;
		  }
		  else{
			  w.u16[0] = (TXUSB.maskBuf+1)-TXUSB.ir;
			  if(USBD_OK==CDC_Transmit_FS(&TXUSB.Buff[TXUSB.ir], w.u16[0]))
				  TXUSB.ir = 0;
		  }
		  TXUSB.ir &= TXUSB.maskSize;
	  }

	  //Primera inicializacion de ESP8266 y Reset
	  if((!DecodeTimeOut) && (ResetESP) && (!ESPReadyToRecyb)){
		  InitEsp((_Rx *)&RXUSART1);
		  //Interrupcion para recibir datos desde ESP8266
		  HAL_UART_Receive_IT(&huart1,rxUSART1Buff,1);
		  ResetESP = 0;
	  }

	  //Continua con los casos para iniciar
	  if((!espConnected) && (!ESPReadyToRecyb) && (!ResetESP) && (!DecodeTimeOut)){
		  InitEsp((_Rx *)&RXUSART1);
	  }

	  //Recepcion por ESP8266 - Decodifica comandos provenientes de ESP8266
	  if(RXUSART1.iw != RXUSART1.ir){
		  DecodeESP((_Rx *)&RXUSART1);
	  }
	  //Si la decodificacion resulta de un dato proveniente de PC, se decodifica header
	  if(DecodeHeaderESP){
		  DecodeHeader((_Rx *)&RXUSART1);

	  }
	  //Recepcion por ESP8266 - Decodifica comando
	  if(RXUSART1.ISCMD) {
		  DecodeCmd((_Rx *)&RXUSART1, (_Tx *)&TXUSART1);

	  }

	  //Transmision por ESP8266
	  if(TXUSART1.iw != TXUSART1.ir) {
		  if((huart1.Instance->SR & UART_FLAG_TXE) == UART_FLAG_TXE){
			  huart1.Instance->DR = txUSART1Buff[TXUSART1.ir++];
		  }
	  }

	  //Reset ESPE8266
	  if((HAL_GPIO_ReadPin(GPIOB, RESET_ESP_Pin) == GPIO_PIN_RESET) && (!DecodeTimeOut) && (ResetESP) && (ESPReadyToRecyb)){
		  HAL_GPIO_WritePin(GPIOB, RESET_ESP_Pin, GPIO_PIN_SET);
		  DecodeTimeOut = 1;
		  ESPReadyToRecyb = 0;
		  Estado = 2;
	  }
  }
  /* USER CODE END 3 */
}

void SystemClock_Config(void)
{
  RCC_OscInitTypeDef RCC_OscInitStruct = {0};
  RCC_ClkInitTypeDef RCC_ClkInitStruct = {0};
  RCC_PeriphCLKInitTypeDef PeriphClkInit = {0};

  /** Initializes the RCC Oscillators according to the specified parameters
  * in the RCC_OscInitTypeDef structure.
  */
  RCC_OscInitStruct.OscillatorType = RCC_OSCILLATORTYPE_HSE;
  RCC_OscInitStruct.HSEState = RCC_HSE_ON;
  RCC_OscInitStruct.HSEPredivValue = RCC_HSE_PREDIV_DIV1;
  RCC_OscInitStruct.HSIState = RCC_HSI_ON;
  RCC_OscInitStruct.PLL.PLLState = RCC_PLL_ON;
  RCC_OscInitStruct.PLL.PLLSource = RCC_PLLSOURCE_HSE;
  RCC_OscInitStruct.PLL.PLLMUL = RCC_PLL_MUL9;
  if (HAL_RCC_OscConfig(&RCC_OscInitStruct) != HAL_OK)
  {
    Error_Handler();
  }
  /** Initializes the CPU, AHB and APB buses clocks
  */
  RCC_ClkInitStruct.ClockType = RCC_CLOCKTYPE_HCLK|RCC_CLOCKTYPE_SYSCLK
                              |RCC_CLOCKTYPE_PCLK1|RCC_CLOCKTYPE_PCLK2;
  RCC_ClkInitStruct.SYSCLKSource = RCC_SYSCLKSOURCE_PLLCLK;
  RCC_ClkInitStruct.AHBCLKDivider = RCC_SYSCLK_DIV1;
  RCC_ClkInitStruct.APB1CLKDivider = RCC_HCLK_DIV2;
  RCC_ClkInitStruct.APB2CLKDivider = RCC_HCLK_DIV1;

  if (HAL_RCC_ClockConfig(&RCC_ClkInitStruct, FLASH_LATENCY_2) != HAL_OK)
  {
    Error_Handler();
  }
  PeriphClkInit.PeriphClockSelection = RCC_PERIPHCLK_ADC|RCC_PERIPHCLK_USB;
  PeriphClkInit.AdcClockSelection = RCC_ADCPCLK2_DIV6;
  PeriphClkInit.UsbClockSelection = RCC_USBCLKSOURCE_PLL_DIV1_5;
  if (HAL_RCCEx_PeriphCLKConfig(&PeriphClkInit) != HAL_OK)
  {
    Error_Handler();
  }
}

static void MX_ADC1_Init(void)
{

  ADC_ChannelConfTypeDef sConfig = {0};

  /** Common config
  */
  hadc1.Instance = ADC1;
  hadc1.Init.ScanConvMode = ADC_SCAN_ENABLE;
  hadc1.Init.ContinuousConvMode = DISABLE;
  hadc1.Init.DiscontinuousConvMode = DISABLE;
  hadc1.Init.ExternalTrigConv = ADC_SOFTWARE_START;
  hadc1.Init.DataAlign = ADC_DATAALIGN_RIGHT;
  hadc1.Init.NbrOfConversion = 8;
  if (HAL_ADC_Init(&hadc1) != HAL_OK)
  {
    Error_Handler();
  }
  /** Configure Regular Channel
  */
  sConfig.Channel = ADC_CHANNEL_0;
  sConfig.Rank = ADC_REGULAR_RANK_1;
  sConfig.SamplingTime = ADC_SAMPLETIME_13CYCLES_5;
  if (HAL_ADC_ConfigChannel(&hadc1, &sConfig) != HAL_OK)
  {
    Error_Handler();
  }
  /** Configure Regular Channel
  */
  sConfig.Channel = ADC_CHANNEL_1;
  sConfig.Rank = ADC_REGULAR_RANK_2;
  if (HAL_ADC_ConfigChannel(&hadc1, &sConfig) != HAL_OK)
  {
    Error_Handler();
  }
  /** Configure Regular Channel
  */
  sConfig.Channel = ADC_CHANNEL_2;
  sConfig.Rank = ADC_REGULAR_RANK_3;
  if (HAL_ADC_ConfigChannel(&hadc1, &sConfig) != HAL_OK)
  {
    Error_Handler();
  }
  /** Configure Regular Channel
  */
  sConfig.Channel = ADC_CHANNEL_3;
  sConfig.Rank = ADC_REGULAR_RANK_4;
  if (HAL_ADC_ConfigChannel(&hadc1, &sConfig) != HAL_OK)
  {
    Error_Handler();
  }
  /** Configure Regular Channel
  */
  sConfig.Channel = ADC_CHANNEL_4;
  sConfig.Rank = ADC_REGULAR_RANK_5;
  if (HAL_ADC_ConfigChannel(&hadc1, &sConfig) != HAL_OK)
  {
    Error_Handler();
  }
  /** Configure Regular Channel
  */
  sConfig.Channel = ADC_CHANNEL_5;
  sConfig.Rank = ADC_REGULAR_RANK_6;
  if (HAL_ADC_ConfigChannel(&hadc1, &sConfig) != HAL_OK)
  {
    Error_Handler();
  }
  /** Configure Regular Channel
  */
  sConfig.Channel = ADC_CHANNEL_6;
  sConfig.Rank = ADC_REGULAR_RANK_7;
  if (HAL_ADC_ConfigChannel(&hadc1, &sConfig) != HAL_OK)
  {
    Error_Handler();
  }
  /** Configure Regular Channel
  */
  sConfig.Channel = ADC_CHANNEL_7;
  sConfig.Rank = ADC_REGULAR_RANK_8;
  if (HAL_ADC_ConfigChannel(&hadc1, &sConfig) != HAL_OK)
  {
    Error_Handler();
  }

}

static void MX_I2C2_Init(void)
{

  hi2c2.Instance = I2C2;
  hi2c2.Init.ClockSpeed = 100000;
  hi2c2.Init.DutyCycle = I2C_DUTYCYCLE_2;
  hi2c2.Init.OwnAddress1 = 0;
  hi2c2.Init.AddressingMode = I2C_ADDRESSINGMODE_7BIT;
  hi2c2.Init.DualAddressMode = I2C_DUALADDRESS_DISABLE;
  hi2c2.Init.OwnAddress2 = 0;
  hi2c2.Init.GeneralCallMode = I2C_GENERALCALL_DISABLE;
  hi2c2.Init.NoStretchMode = I2C_NOSTRETCH_DISABLE;
  if (HAL_I2C_Init(&hi2c2) != HAL_OK)
  {
    Error_Handler();
  }

}

static void MX_TIM3_Init(void)
{

  TIM_ClockConfigTypeDef sClockSourceConfig = {0};
  TIM_MasterConfigTypeDef sMasterConfig = {0};

  htim3.Instance = TIM3;
  htim3.Init.Prescaler = 7;
  htim3.Init.CounterMode = TIM_COUNTERMODE_UP;
  htim3.Init.Period = 18000;
  htim3.Init.ClockDivision = TIM_CLOCKDIVISION_DIV1;
  htim3.Init.AutoReloadPreload = TIM_AUTORELOAD_PRELOAD_DISABLE;
  if (HAL_TIM_Base_Init(&htim3) != HAL_OK)
  {
    Error_Handler();
  }
  sClockSourceConfig.ClockSource = TIM_CLOCKSOURCE_INTERNAL;
  if (HAL_TIM_ConfigClockSource(&htim3, &sClockSourceConfig) != HAL_OK)
  {
    Error_Handler();
  }
  sMasterConfig.MasterOutputTrigger = TIM_TRGO_RESET;
  sMasterConfig.MasterSlaveMode = TIM_MASTERSLAVEMODE_DISABLE;
  if (HAL_TIMEx_MasterConfigSynchronization(&htim3, &sMasterConfig) != HAL_OK)
  {
    Error_Handler();
  }

}

static void MX_TIM4_Init(void)
{

  TIM_ClockConfigTypeDef sClockSourceConfig = {0};
  TIM_MasterConfigTypeDef sMasterConfig = {0};
  TIM_OC_InitTypeDef sConfigOC = {0};

  htim4.Instance = TIM4;
  htim4.Init.Prescaler = 7;
  htim4.Init.CounterMode = TIM_COUNTERMODE_UP;
  htim4.Init.Period = 9000;
  htim4.Init.ClockDivision = TIM_CLOCKDIVISION_DIV1;
  htim4.Init.AutoReloadPreload = TIM_AUTORELOAD_PRELOAD_DISABLE;
  if (HAL_TIM_Base_Init(&htim4) != HAL_OK)
  {
    Error_Handler();
  }
  sClockSourceConfig.ClockSource = TIM_CLOCKSOURCE_INTERNAL;
  if (HAL_TIM_ConfigClockSource(&htim4, &sClockSourceConfig) != HAL_OK)
  {
    Error_Handler();
  }
  if (HAL_TIM_PWM_Init(&htim4) != HAL_OK)
  {
    Error_Handler();
  }
  sMasterConfig.MasterOutputTrigger = TIM_TRGO_RESET;
  sMasterConfig.MasterSlaveMode = TIM_MASTERSLAVEMODE_DISABLE;
  if (HAL_TIMEx_MasterConfigSynchronization(&htim4, &sMasterConfig) != HAL_OK)
  {
    Error_Handler();
  }
  sConfigOC.OCMode = TIM_OCMODE_PWM1;
  sConfigOC.Pulse = 0;
  sConfigOC.OCPolarity = TIM_OCPOLARITY_HIGH;
  sConfigOC.OCFastMode = TIM_OCFAST_DISABLE;
  if (HAL_TIM_PWM_ConfigChannel(&htim4, &sConfigOC, TIM_CHANNEL_1) != HAL_OK)
  {
    Error_Handler();
  }
  if (HAL_TIM_PWM_ConfigChannel(&htim4, &sConfigOC, TIM_CHANNEL_2) != HAL_OK)
  {
    Error_Handler();
  }
  if (HAL_TIM_PWM_ConfigChannel(&htim4, &sConfigOC, TIM_CHANNEL_3) != HAL_OK)
  {
    Error_Handler();
  }
  if (HAL_TIM_PWM_ConfigChannel(&htim4, &sConfigOC, TIM_CHANNEL_4) != HAL_OK)
  {
    Error_Handler();
  }
  HAL_TIM_MspPostInit(&htim4);

}

static void MX_USART1_UART_Init(void)
{

  huart1.Instance = USART1;
  huart1.Init.BaudRate = 115200;
  huart1.Init.WordLength = UART_WORDLENGTH_8B;
  huart1.Init.StopBits = UART_STOPBITS_1;
  huart1.Init.Parity = UART_PARITY_NONE;
  huart1.Init.Mode = UART_MODE_TX_RX;
  huart1.Init.HwFlowCtl = UART_HWCONTROL_NONE;
  huart1.Init.OverSampling = UART_OVERSAMPLING_16;
  if (HAL_UART_Init(&huart1) != HAL_OK)
  {
    Error_Handler();
  }

}

static void MX_DMA_Init(void)
{

  /* DMA controller clock enable */
  __HAL_RCC_DMA1_CLK_ENABLE();

  /* DMA interrupt init */
  /* DMA1_Channel1_IRQn interrupt configuration */
  HAL_NVIC_SetPriority(DMA1_Channel1_IRQn, 0, 0);
  HAL_NVIC_EnableIRQ(DMA1_Channel1_IRQn);

}

static void MX_GPIO_Init(void)
{
  GPIO_InitTypeDef GPIO_InitStruct = {0};

  /* GPIO Ports Clock Enable */
  __HAL_RCC_GPIOC_CLK_ENABLE();
  __HAL_RCC_GPIOD_CLK_ENABLE();
  __HAL_RCC_GPIOA_CLK_ENABLE();
  __HAL_RCC_GPIOB_CLK_ENABLE();

  /*Configure GPIO pin Output Level */
  HAL_GPIO_WritePin(LED13_GPIO_Port, LED13_Pin, GPIO_PIN_RESET);

  /*Configure GPIO pin Output Level */
  HAL_GPIO_WritePin(GPIOB, RESET_ESP_Pin|ENABLE_ESP_Pin, GPIO_PIN_RESET);

  /*Configure GPIO pin : LED13_Pin */
  GPIO_InitStruct.Pin = LED13_Pin;
  GPIO_InitStruct.Mode = GPIO_MODE_OUTPUT_PP;
  GPIO_InitStruct.Pull = GPIO_NOPULL;
  GPIO_InitStruct.Speed = GPIO_SPEED_FREQ_LOW;
  HAL_GPIO_Init(LED13_GPIO_Port, &GPIO_InitStruct);

  /*Configure GPIO pins : PA0 PA1 PA2 PA3
                           PA4 PA5 PA6 PA7 */
  GPIO_InitStruct.Pin = GPIO_PIN_0|GPIO_PIN_1|GPIO_PIN_2|GPIO_PIN_3
                          |GPIO_PIN_4|GPIO_PIN_5|GPIO_PIN_6|GPIO_PIN_7;
  GPIO_InitStruct.Mode = GPIO_MODE_ANALOG;
  HAL_GPIO_Init(GPIOA, &GPIO_InitStruct);

  /*Configure GPIO pins : RESET_ESP_Pin ENABLE_ESP_Pin */
  GPIO_InitStruct.Pin = RESET_ESP_Pin|ENABLE_ESP_Pin;
  GPIO_InitStruct.Mode = GPIO_MODE_OUTPUT_PP;
  GPIO_InitStruct.Pull = GPIO_NOPULL;
  GPIO_InitStruct.Speed = GPIO_SPEED_FREQ_LOW;
  HAL_GPIO_Init(GPIOB, &GPIO_InitStruct);

}

void Error_Handler(void)
{
  __disable_irq();
  while (1)
  {
  }
}

/************************ (C) COPYRIGHT STMicroelectronics *****END OF FILE****/
